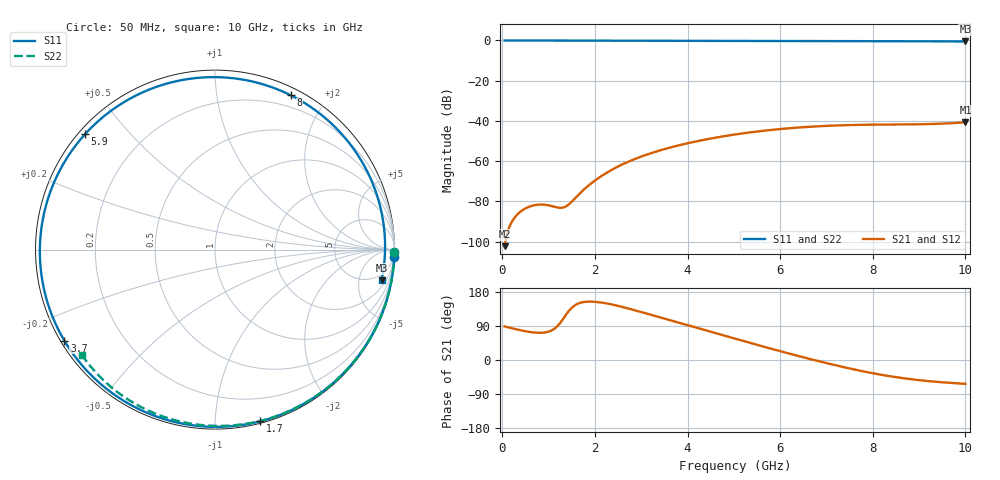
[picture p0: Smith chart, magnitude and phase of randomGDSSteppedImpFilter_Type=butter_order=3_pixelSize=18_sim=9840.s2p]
! freq	dB(S11)	phase(S11)	dB(S12)	phase(S12)
!  dB(S21)	phase(S21)	dB(S22)	phase(S22)
!S-par simulation data
#  GHz  S  DB  R 50
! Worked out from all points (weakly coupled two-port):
!   200 points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, 50 MHz to 10 GHz, reference 50 ohm
!   highest |S21| = -40.74 dB at 10 GHz (marker M1); lowest = -102.3 dB at 50 MHz (marker M2)
!   lowest |S11| = -0.5 dB at 10 GHz (marker M3), VSWR 34.49, Z = 160 - j498 ohm
!   |S11| at or under -10 dB: nowhere
!   |S22| runs from -0.5 to 0.0 dB; largest |S21 - S12| = 0
!   S11 on the Smith chart (normalised r, x): 50 MHz: 0, -49; 1.7 GHz: 0.01, -1.30; 3.7 GHz: 0.01, -0.28; 5.9 GHz: 0.02, +0.38; 8 GHz: 0.08, +1.60; 10 GHz: 3, -10
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0.05  -0.00 -2.3  -102.32 88.5  -102.32 88.5  -0.00 -0.8
0.35  -0.02 -16.2  -85.99 79.7  -85.99 79.7  -0.01 -5.7
0.7  -0.04 -32.1  -81.92 72.4  -81.92 72.4  -0.02 -11.3
1.1  -0.06 -49.8  -82.55 80.5  -82.55 80.5  -0.02 -17.8
1.5  -0.08 -66.9  -80.17 137.7  -80.17 137.7  -0.03 -24.2
1.7  -0.09 -75.2  -75.49 151.5  -75.49 151.5  -0.03 -27.3
1.75  -0.09 -77.2  -74.40 152.8  -74.40 152.8  -0.04 -28.1
2.05  -0.11 -89.2  -68.87 152.9  -68.87 152.9  -0.04 -32.8
2.45  -0.12 -104.6  -63.28 144.3  -63.28 144.3  -0.05 -39.0
2.9  -0.14 -121.1  -58.62 129.9  -58.62 129.9  -0.06 -45.9
3.4  -0.16 -138.6  -54.72 112.7  -54.72 112.7  -0.07 -53.4
3.7  -0.17 -148.8  -52.81 102.2  -52.81 102.2  -0.08 -57.9
4.35  -0.20 -170.4  -49.43 79.5  -49.43 79.5  -0.10 -67.4
5.05  -0.23 166.6  -46.68 55.3  -46.68 55.3  -0.12 -77.3
5.9  -0.28 138.4  -44.29 26.6  -44.29 26.6  -0.15 -88.9
6.7  -0.32 110.9  -42.84 0.9  -42.84 0.9  -0.19 -99.6
7.35  -0.35 87.7  -42.17 -18.2  -42.17 -18.2  -0.23 -108.0
8  -0.37 63.8  -41.88 -34.9  -41.88 -34.9  -0.28 -116.3
8.35  -0.39 50.7  -41.82 -42.4  -41.82 -42.4  -0.31 -120.7
9.2  -0.43 19.0  -41.60 -55.6  -41.60 -55.6  -0.39 -131.5
9.6  -0.46 4.2  -41.27 -59.7  -41.27 -59.7  -0.44 -136.6
10  -0.50 -10.4  -40.74 -62.9  -40.74 -62.9  -0.48 -141.7
